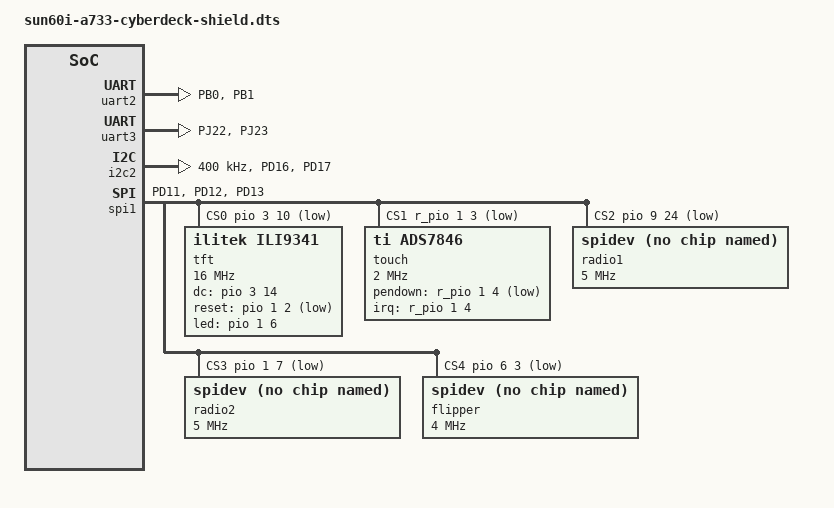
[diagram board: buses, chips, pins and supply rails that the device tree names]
/dts-v1/;
/plugin/;

/*
 * A7S cyberdeck backplane shield — TFT + touch + radio 1 on SPI1 (BRINGUP-V2.md Phase 4)
 *
 * Kernel: 6.18.19-edge-sun60iw2 (BSP-dialect DT: spi_sunxi_ng, sun60iw2 pinctrl).
 * Pin facts (BACKPLANE-DESIGN.md §2/§4.1, verified against pinctrl-sun60iw2.c):
 *   SPI1 CLK/MOSI/MISO = PD11/PD12/PD13 (mux 6 "spi1"); every CS as GPIO.
 *   TFT: CS=PD10 DC=PD14 RST=PB2 BL=PB6 (ILI9341, write-only, SDO NC).
 *   Touch: CS=PM3 IRQ=PM4 (XPT2046 = ads7846-compatible; PM bank is on r_pio).
 *   Radio 1 (J5, "8+1" socket in nRF24 pin order): CS=PJ24 (J5.4). The two flex
 *   pins are the module's interrupt/data lines — for a CC1101 that is
 *   GDO0=PB3 (J5.3, FLEXA) and GDO2=PJ25 (J5.8, FLEXB). Both are left as plain
 *   GPIOs: spidev carries the register traffic and userspace reads the flex pins
 *   through gpiod, so swapping a CC1101 for an nRF24/CC2500 is a userspace change.
 *   Radio 2 (J6, identical socket): CS=PB7 (J6.4), GDO0=PB8 (J6.3, FLEXA),
 *   GDO2=PG0 (J6.8, FLEXB) — all three confirmed on the running board by
 *   forcing each pin's internal pull both ways: with a module seated, J6.3/J6.8
 *   stop following the bias while every other spare pin still does.
 * Radio power is NOT software-gated. SCHEMATIC.md §4 and BACKPLANE-DESIGN.md §5
 * describe an AP2112K LDO and a PB4-gated TPS22918 load switch; neither was
 * built. Per the netlist source of truth (a7s_backplane_skidl.py "NO LDO, NO
 * load switch") and BRINGUP-V2.md, the sockets sit on +3V3 straight off the A7S
 * header through polyfuse F2, and PB4 is a plain spare. So there is no regulator
 * to declare here — but note F2 is the ONLY link to that rail, and a
 * screen-first build is explicitly allowed to leave it unpopulated. An
 * unpopulated F2 reads exactly like a dead module: 0x00/0xFF on MISO.
 * GPIO cells are chip-relative banks: &pio B=1, D=3, J=9; &r_pio L=0, M=1.
 * PJ=9 is not in the docs; it is confirmed from the running kernel's own
 * gpiochip0 numbering (gpio-310 = PIN_5 = PJ22, so 310 = 9*32 + 22).
 * reset-gpios ACTIVE_LOW per fbtft gpiod convention (logical 1 = reset asserted).
 * Build:   dtc -@ -I dts -O dtb -o sun60i-a733-cyberdeck-shield.dtbo <this>
 * Install: /boot/dtb/allwinner/overlay/ + "overlays=cyberdeck-shield" in armbianEnv.txt
 */

/ {
	compatible = "allwinner,sun60iw2";

	fragment@0 {
		target = <&pio>;
		__overlay__ {
			spi1_shield_pins: spi1-shield-pins {
				pins = "PD11", "PD12", "PD13";
				function = "spi1";
				drive-strength = <20>;
			};
		};
	};

	fragment@2 {
		target = <&pio>;
		__overlay__ {
			uart2_shield_pins: uart2-shield-pins {
				pins = "PB0", "PB1";	/* TX, RX only — PB2/PB3 belong to TFT/radio */
				function = "uart2";
				drive-strength = <10>;
			};
		};
	};

	fragment@3 {
		target = <&uart2>;
		__overlay__ {
			status = "okay";
			pinctrl-names = "default";
			pinctrl-0 = <&uart2_shield_pins>;
		};
	};

	/*
	 * J12, the Flipper-Zero-compatible header — every routed pin made real.
	 *
	 * The socket is wired to the published Flipper pinout (verified against
	 * docs.flipper.net: 1=+5V, 9=+3V3, 8/11/18=GND, 2/3/5=SPI MOSI/MISO/SCK,
	 * 4=SPI CS, 13/14=UART TX/RX, 15/16=I2C SDA/SCL, 17=1-Wire), so the
	 * ecosystem's modules physically fit. Fitting is not working: a pin only
	 * works if the SoC end of it is switched on, and three of them were not.
	 *
	 * What the common add-ons actually need:
	 *   NRF24 / external CC1101 / W5500 / SD  -> MOSI 2, MISO 3, *CS 4*, SCK 5,
	 *       plus pin 6 as CE (nRF24) or GDO0 (CC1101)
	 *   ESP32 & ESP8266 devboards, GPS, LoRa  -> UART on 13/14
	 *   I2C sensors (HTU21D, SI7021, AM232x)  -> SDA 15, SCL 16
	 *   iButton / DHT                         -> 1-Wire on 17
	 *
	 * So pin 4 becomes a real chip-select on the shared SPI bus (below), pins
	 * 13/14 become uart3, and 15/16 become twi2. Pins 6, 7 and 17 stay plain
	 * GPIOs on purpose — CE, GDO0 and 1-Wire are all userspace-driven, and a
	 * driver claiming them would take them away from the app that needs them.
	 *
	 * Learned the hard way on the radio sockets: a module seated in a socket
	 * whose chip-select the kernel does not drive reads 0x00 forever and looks
	 * exactly like dead hardware.
	 */

	fragment@4 {
		target = <&pio>;
		__overlay__ {
			/*
			 * The two serial pins are biased DIFFERENTLY, and the asymmetry is
			 * the whole point.
			 *
			 * furi_hal_serial.c pulls up both USART pins, and copying that
			 * looked obviously right — but on this deck it is the difference
			 * between a module that boots and one that does not. Across five
			 * insertions, the only one where the GNSS module came out of reset
			 * (its LED released) was the one where PJ23 had no bias at all.
			 *
			 * PJ23 is our RX, which means it is the *module's TX pin*, and on
			 * many GNSS parts that pin doubles as a boot-mode strap sampled at
			 * power-up. Holding it high while the module powers up latches a
			 * different mode and it sits there mute. The Flipper gets away with
			 * its pull-up because every one of its GPIOs has a 51R series
			 * resistor in line (hardware docs) and ours do not — same config on
			 * paper, different current into a strap pin.
			 *
			 * So: pull up our TX, because the module's receiver needs a defined
			 * idle high and a floating RX reads as a permanent start bit. Leave
			 * our RX alone, because that pin belongs to the module at power-up.
			 */
			uart3_tx_pins: uart3-tx-pins {
				pins = "PJ22";		/* J12.13 - our TX, the module's RX */
				function = "uart3";	/* mux 0x4 per pinctrl-sun60iw2.c */
				drive-strength = <10>;
				bias-pull-up;
			};

			uart3_rx_pins: uart3-rx-pins {
				pins = "PJ23";		/* J12.14 - our RX, the module's TX/strap */
				function = "uart3";
				drive-strength = <10>;
				bias-disable;
			};

			twi2_shield_pins: twi2-shield-pins {
				pins = "PD16", "PD17";	/* J12.16 SCL, J12.15 SDA (also J1.28/J1.27) */
				function = "twi2";	/* mux 0x6 per pinctrl-sun60iw2.c */
				drive-strength = <10>;
				bias-pull-up;		/* no external pull-ups on the shield */
			};
		};
	};

	fragment@5 {
		target = <&uart3>;
		__overlay__ {
			/* The vendor DTS points uart3 at PI1/PI12; the backplane routes it
			 * to PJ22/PJ23, so the pin group is overridden rather than reused.
			 * No "sleep" state here: the shield header has no idle mode, and a
			 * module mid-sentence should not have its pins muxed away. */
			status = "okay";
			pinctrl-names = "default";
			pinctrl-0 = <&uart3_tx_pins>, <&uart3_rx_pins>;
		};
	};

	fragment@6 {
		target = <&i2c2>;
		__overlay__ {
			status = "okay";
			clock-frequency = <400000>;
			pinctrl-names = "default";
			pinctrl-0 = <&twi2_shield_pins>;
		};
	};

	fragment@1 {
		target = <&spi1>;
		__overlay__ {
			status = "okay";
			#address-cells = <1>;
			#size-cells = <0>;
			pinctrl-names = "default";
			pinctrl-0 = <&spi1_shield_pins>;
			sunxi,spi-num-cs = <5>;
			cs-gpios = <&pio 3 10 1>,	/* PD10 TFT_CS    active-low */
				   <&r_pio 1 3 1>,	/* PM3  TOUCH_CS  active-low */
				   <&pio 9 24 1>,	/* PJ24 RADIO1_CS active-low */
				   <&pio 1 7 1>,	/* PB7  RADIO2_CS active-low */
				   <&pio 6 3 1>;	/* PG3  FLIPPER_CS (J12.4) active-low */

			tft@0 {
				compatible = "ilitek,ili9341";
				reg = <0>;
				spi-max-frequency = <16000000>;
				buswidth = <8>;
				dc-gpios = <&pio 3 14 0>;	/* PD14 */
				reset-gpios = <&pio 1 2 1>;	/* PB2, active-low */
				led-gpios = <&pio 1 6 0>;	/* PB6 backlight */
				rotate = <90>;			/* landscape; 270 was 180° out on the deck */
				bgr;
				fps = <30>;
			};

			touch@1 {
				compatible = "ti,ads7846";
				reg = <1>;
				spi-max-frequency = <2000000>;
				interrupt-parent = <&r_pio>;
				interrupts = <1 4 2>;		/* PM4, falling edge */
				pendown-gpio = <&r_pio 1 4 1>;	/* PENIRQ is active-LOW */
				ti,swap-xy;
				ti,x-min = /bits/ 16 <370>;
				ti,x-max = /bits/ 16 <3600>;
				ti,y-min = /bits/ 16 <300>;
				ti,y-max = /bits/ 16 <3780>;
				ti,x-plate-ohms = /bits/ 16 <200>;
				ti,pressure-max = /bits/ 16 <15000>;
				wakeup-source;
			};

			/*
			 * BOTH radio sockets (J5, J6) as raw spidev nodes.
			 *
			 * J6 was missing here until 2026-08-03 and that cost a long
			 * hunt: a CC1101 seated in J6 is invisible through
			 * /dev/spidev1.2, which drives J5's chip-select, so the deck
			 * read 0x00 forever and looked like a dead 3V3 rail. Declaring
			 * only the socket we happened to test first is the bug —
			 * either socket takes a module, so either socket gets a node.
			 * (Proof it was never power: holding PB7 low by hand with
			 * gpioset and re-running the identify returned PARTNUM=0x00
			 * VERSION=0x14 MARCSTATE=0x01, and GDO0 was free-running
			 * CLK_XOSC/192 the whole time.)
			 *
			 * No in-kernel driver: mainline has none for the CC1101, and the
			 * out-of-tree ones pin you to a kernel version this deck rebuilds
			 * often. Userspace (src/services/subghz.py) drives the registers
			 * over spidev and reads GDO0/GDO2 through gpiod, which also means
			 * the same node serves a CC2500 or an nRF24 with no DT change.
			 *
			 * "rohm,dh2228fv" is the conventional stand-in compatible that
			 * binds spidev without the kernel's "buggy DT" warning.
			 *
			 * 5 MHz is inside the CC1101's 6.5 MHz burst-access limit with
			 * margin for the socket stub. Note BACKPLANE-DESIGN.md §"radios
			 * populated" advises holding the whole bus at ~8 MHz for MISO
			 * integrity while the TFT node above runs at 16 MHz — left alone
			 * for now because the panel is demonstrably stable with the module
			 * seated, and halving panel throughput is the deck's frame budget.
			 * If the display starts tearing or wedging with a radio fitted,
			 * that TFT clock is the first thing to drop.
			 */
			radio1@2 {
				compatible = "rohm,dh2228fv";
				reg = <2>;
				spi-max-frequency = <5000000>;
			};

			radio2@3 {
				compatible = "rohm,dh2228fv";
				reg = <3>;
				spi-max-frequency = <5000000>;
			};

			/*
			 * J12.4 — the chip-select every Flipper SPI add-on expects. An
			 * nRF24, an external CC1101, a W5500 or an SD breakout all land
			 * their CSN here, so it gets a spidev node like the radios do.
			 * 4 MHz is the conservative floor across that set (nRF24 tolerates
			 * 8, SD cards want more once initialised); userspace raises it per
			 * device through SPI_IOC_WR_MAX_SPEED_HZ.
			 */
			flipper@4 {
				compatible = "rohm,dh2228fv";
				reg = <4>;
				spi-max-frequency = <4000000>;
			};
		};
	};
};
